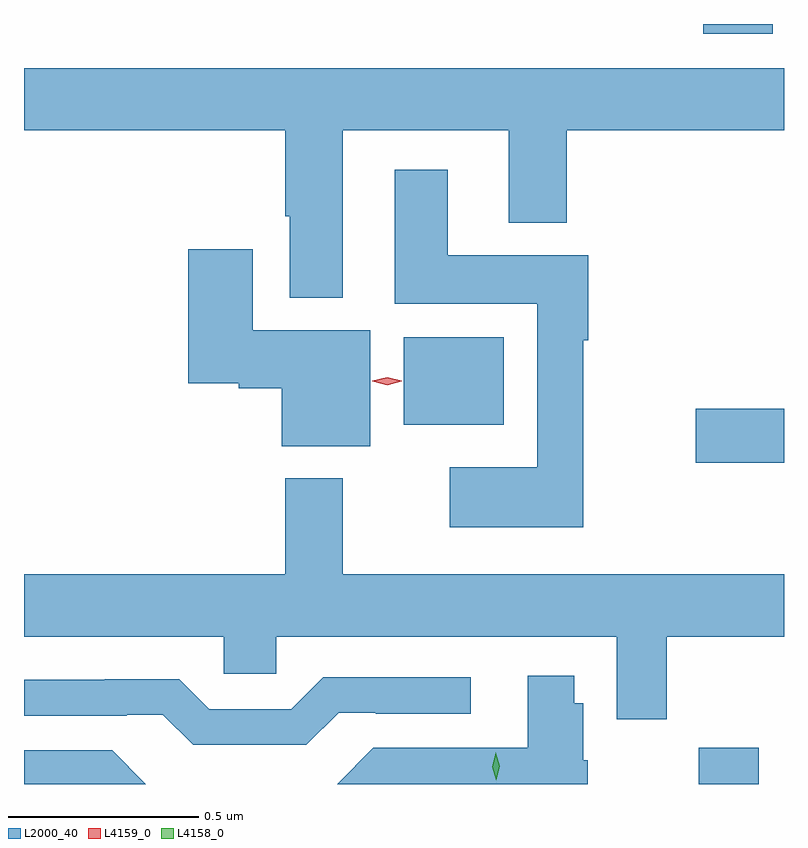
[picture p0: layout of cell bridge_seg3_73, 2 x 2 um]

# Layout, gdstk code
import gdstk
lib = gdstk.Library(unit=1e-6, precision=1e-09)
def R(c, l, rs):  # rectangles x0, y0, x1, y1
    for r in rs: c.add(gdstk.rectangle(r[:2], r[2:], *l))
def P(c, l, *ps):  # polygons
    for p in ps: c.add(gdstk.Polygon(p, *l))
L2000_40 = (2000, 40)
L4158_0 = (4158, 0)
L4159_0 = (4159, 0)

bridge_seg3_73 = lib.new_cell('bridge_seg3_73')
R(bridge_seg3_73, L2000_40, [(408.434,685.876,408.592,685.972), (408.426,686.722,408.658,686.864), (407.657,686.822,407.92,687.052), (408.446,687.851,408.628,687.876)])
P(bridge_seg3_73, L2000_40, [(407.497,687.596),(407.933,687.596),(407.933,687.353),(408.086,687.353),(408.086,687.596),(408.658,687.596),(408.658,687.76),(406.658,687.76),(406.658,687.596),(407.345,687.596),(407.345,687.37),(407.357,687.37),(407.357,687.155),(407.497,687.155)],
  [(408.13,687.044),(408.143,687.044),(408.143,687.268),(407.773,687.268),(407.773,687.493),(407.633,687.493),(407.633,687.14),(408.008,687.14),(408.008,686.71),(407.778,686.71),(407.778,686.552),(408.13,686.552)],
  [(407.569,687.07),(407.26,687.07),(407.26,687.283),(407.09,687.283),(407.09,686.93),(407.223,686.93),(407.223,686.918),(407.336,686.918),(407.336,686.765),(407.569,686.765)],
  [(408.35,686.264),(408.658,686.264),(408.658,686.428),(407.497,686.428),(407.497,686.68),(407.345,686.68),(407.345,686.428),(406.658,686.428),(406.658,686.264),(407.184,686.264),(407.184,686.166),(407.322,686.166),(407.322,686.264),(408.218,686.264),(408.218,686.046),(408.35,686.046)],
  [(408.142,685.938),(408.13,685.938),(408.13,686.088),(408.106,686.088),(408.106,686.161),(407.984,686.161),(407.984,685.971),(407.577,685.971),(407.482,685.876),(408.142,685.876)],
  [(407.486,686.064),(407.584,686.064),(407.584,686.061),(407.833,686.061),(407.833,686.157),(407.445,686.157),(407.361,686.073),(407.145,686.073),(407.066,686.152),(406.87,686.152),(406.87,686.151),(406.658,686.151),(406.658,686.055),(406.928,686.055),(406.928,686.058),(407.023,686.058),(407.103,685.979),(407.401,685.979)],
  [(406.89,685.965),(406.658,685.965),(406.658,685.876),(406.979,685.876)])
P(bridge_seg3_73, L4158_0, [(407.901,685.886),(407.901,685.886),(407.89,685.922),(407.899,685.958),(407.899,685.959),(407.899,685.958),(407.91,685.923),(407.901,685.886)])
P(bridge_seg3_73, L4159_0, [(407.614,686.926),(407.575,686.936),(407.575,686.936),(407.575,686.937),(407.614,686.946),(407.652,686.937),(407.652,686.936),(407.652,686.936)])

lib.write_gds('bridge_seg3_73.gds')
